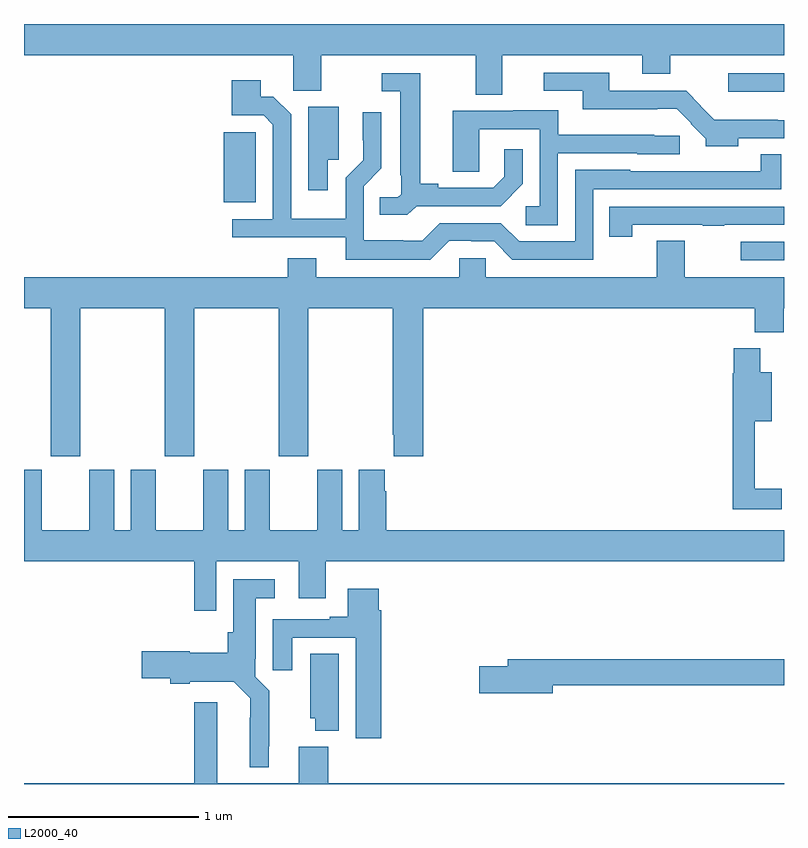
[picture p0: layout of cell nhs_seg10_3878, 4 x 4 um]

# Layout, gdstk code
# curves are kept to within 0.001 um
import gdstk
lib = gdstk.Library(unit=1e-6, precision=1e-09)
def R(c, l, rs):  # rectangles x0, y0, x1, y1
    for r in rs: c.add(gdstk.rectangle(r[:2], r[2:], *l))
def P(c, l, *ps):  # polygons
    for p in ps: c.add(gdstk.Polygon(p, *l))
L2000_40 = (2000, 40)

nhs_seg10_3878 = lib.new_cell('nhs_seg10_3878')
R(nhs_seg10_3878, L2000_40, [(328.773,1279.257,329,1279.353), (326.051,1279.562,326.221,1279.929), (328.707,1280.144,329,1280.241)])
P(nhs_seg10_3878, L2000_40, [(327.517,1280.336),(328.253,1280.336),(328.253,1280.237),(328.401,1280.237),(328.401,1280.336),(329,1280.336),(329,1280.5),(325,1280.5),(325,1280.336),(326.418,1280.336),(326.418,1280.149),(326.565,1280.149),(326.565,1280.336),(327.377,1280.336),(327.377,1280.128),(327.517,1280.128)],
  [(328.759,1279.899),(329,1279.899),(329,1279.994),(328.967,1279.994),(328.967,1279.996),(328.633,1279.996),(328.559,1280.069),(328.561,1280.071),(328.485,1280.148),(328.081,1280.148),(328.081,1280.244),(327.735,1280.244),(327.735,1280.148),(327.941,1280.148),(327.941,1280.051),(328.334,1280.051),(328.334,1280.054),(328.436,1280.054),(328.512,1279.977),(328.509,1279.974),(328.588,1279.896),(328.588,1279.856),(328.759,1279.856)],
  [(327.066,1279.542),(327.508,1279.542),(327.624,1279.658),(327.624,1279.84),(327.527,1279.84),(327.527,1279.695),(327.47,1279.638),(327.181,1279.638),(327.181,1279.658),(327.085,1279.658),(327.085,1280.241),(326.883,1280.241),(326.883,1280.145),(326.981,1280.145),(326.981,1279.705),(326.985,1279.705),(326.985,1279.605),(326.967,1279.587),(326.872,1279.587),(326.872,1279.495),(327.018,1279.495)],
  [(327.237,1279.359),(327.354,1279.359),(327.354,1279.356),(327.474,1279.356),(327.57,1279.26),(327.996,1279.26),(327.996,1279.629),(328.986,1279.629),(328.986,1279.814),(328.878,1279.814),(328.878,1279.726),(328.191,1279.725),(328.191,1279.732),(327.9,1279.732),(327.9,1279.356),(327.606,1279.356),(327.51,1279.452),(327.189,1279.452),(327.096,1279.359),(326.996,1279.359),(326.996,1279.363),(326.787,1279.363),(326.787,1279.647),(326.88,1279.74),(326.88,1280.035),(326.784,1280.035),(326.784,1279.888),(326.786,1279.888),(326.786,1279.782),(326.694,1279.69),(326.694,1279.474),(326.406,1279.474),(326.406,1280.025),(326.313,1280.118),(326.245,1280.118),(326.245,1280.203),(326.093,1280.203),(326.093,1280.019),(326.262,1280.019),(326.31,1279.971),(326.31,1279.473),(326.097,1279.473),(326.097,1279.377),(326.693,1279.377),(326.693,1279.259),(327.137,1279.259)],
  [(326.599,1279.785),(326.656,1279.785),(326.656,1280.064),(326.495,1280.064),(326.495,1279.626),(326.599,1279.626)],
  [(327.81,1279.821),(328.227,1279.821),(328.227,1279.815),(328.452,1279.815),(328.452,1279.911),(328.317,1279.911),(328.317,1279.918),(327.811,1279.918),(327.811,1280.047),(327.575,1280.047),(327.575,1280.043),(327.257,1280.043),(327.257,1279.723),(327.396,1279.723),(327.396,1279.947),(327.714,1279.947),(327.714,1279.542),(327.642,1279.542),(327.642,1279.441),(327.81,1279.441)],
  [(328.2,1279.443),(328.573,1279.443),(328.573,1279.438),(328.685,1279.438),(328.685,1279.443),(329,1279.443),(329,1279.539),(328.081,1279.539),(328.081,1279.38),(328.2,1279.38)],
  [(325.296,1279.004),(325.741,1279.004),(325.741,1278.225),(325.896,1278.225),(325.896,1279.004),(326.341,1279.004),(326.341,1278.225),(326.496,1278.225),(326.496,1279.004),(326.941,1279.004),(326.941,1278.337),(326.945,1278.337),(326.945,1278.225),(327.101,1278.225),(327.101,1279.004),(328.847,1279.004),(328.847,1278.878),(328.998,1278.878),(328.998,1279.004),(329,1279.004),(329,1279.168),(328.477,1279.168),(328.477,1279.358),(328.33,1279.358),(328.33,1279.168),(327.429,1279.168),(327.429,1279.266),(327.291,1279.266),(327.291,1279.168),(326.539,1279.168),(326.539,1279.267),(326.387,1279.267),(326.387,1279.168),(325,1279.168),(325,1279.004),(325.141,1279.004),(325.141,1278.225),(325.296,1278.225)],
  [(328.987,1278.055),(328.847,1278.055),(328.847,1278.41),(328.936,1278.41),(328.936,1278.667),(328.876,1278.667),(328.876,1278.793),(328.736,1278.793),(328.736,1278.663),(328.729,1278.663),(328.729,1277.946),(328.987,1277.946)],
  [(326.013,1277.672),(326.447,1277.672),(326.447,1277.478),(326.587,1277.478),(326.587,1277.672),(329,1277.672),(329,1277.836),(326.906,1277.836),(326.906,1278.041),(326.899,1278.041),(326.899,1278.154),(326.762,1278.154),(326.762,1277.836),(326.674,1277.836),(326.674,1278.154),(326.543,1278.154),(326.543,1277.836),(326.293,1277.836),(326.293,1278.154),(326.162,1278.154),(326.162,1277.836),(326.074,1277.836),(326.074,1278.154),(325.943,1278.154),(325.943,1277.836),(325.693,1277.836),(325.693,1278.154),(325.562,1278.154),(325.562,1277.836),(325.474,1277.836),(325.474,1278.154),(325.343,1278.154),(325.343,1277.836),(325.093,1277.836),(325.093,1278.154),(325,1278.154),(325,1277.672),(325.897,1277.672),(325.897,1277.412),(326.013,1277.412)],
  [(326.287,1276.699),(326.291,1276.699),(326.291,1276.99),(326.217,1277.064),(326.217,1277.158),(326.221,1277.158),(326.221,1277.477),(326.32,1277.477),(326.32,1277.578),(326.102,1277.578),(326.102,1277.298),(326.072,1277.298),(326.072,1277.191),(325.873,1277.191),(325.873,1277.199),(325.62,1277.199),(325.62,1277.057),(325.769,1277.057),(325.769,1277.027),(325.873,1277.027),(325.873,1277.039),(326.103,1277.039),(326.19,1276.952),(326.189,1276.589),(326.287,1276.589)],
  [(326.879,1277.414),(326.866,1277.414),(326.866,1277.527),(326.705,1277.527),(326.705,1277.38),(326.609,1277.38),(326.609,1277.367),(326.309,1277.367),(326.309,1277.1),(326.413,1277.1),(326.413,1277.271),(326.747,1277.271),(326.747,1276.74),(326.879,1276.74)],
  [(326.656,1277.186),(326.507,1277.186),(326.507,1276.845),(326.534,1276.845),(326.534,1276.781),(326.656,1276.781)],
  [(327.784,1277.02),(329,1277.02),(329,1277.156),(327.545,1277.156),(327.545,1277.12),(327.396,1277.12),(327.396,1276.978),(327.784,1276.978)],
  [(329,1276.504),(326.6,1276.504),(326.6,1276.696),(326.447,1276.696),(326.447,1276.504),(326.017,1276.504),(326.017,1276.93),(325.895,1276.93),(325.895,1276.504),(325,1276.504),(325,1276.5),(329,1276.5)])

lib.write_gds('nhs_seg10_3878.gds')
